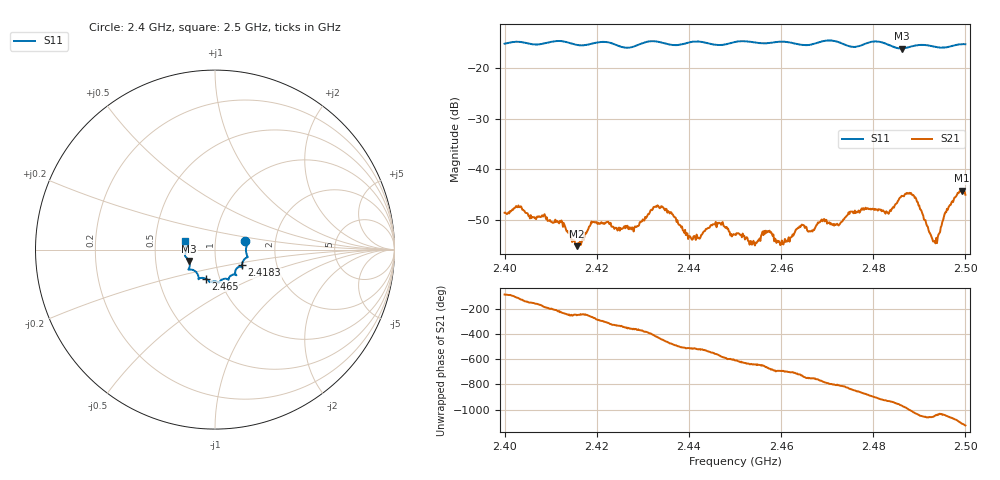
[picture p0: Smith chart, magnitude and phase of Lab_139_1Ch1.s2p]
# Hz S RI R 50
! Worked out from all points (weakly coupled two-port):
!   601 points, 2.4 GHz to 2.5 GHz, reference 50 ohm
!   highest |S21| = -44.25 dB at 2.4992 GHz (marker M1); lowest = -55.3 dB at 2.4157 GHz (marker M2)
!   lowest |S11| = -16.1 dB at 2.4862 GHz (marker M3), VSWR 1.37, Z = 37.1 - j4.81 ohm
!   |S11| at or under -10 dB: start of sweep to end of sweep
!   S12 and S22 are empty: the file has one direction only
!   S11 on the Smith chart (normalised r, x): 2.4 GHz: 1.40, +0.13; 2.4183 GHz: 1.33, -0.24; 2.465 GHz: 0.86, -0.29; 2.5 GHz: 0.71, +0.07
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2.4e9  0.1693 0.0461  0.000139 -0.0037  0 0  0 0
2.412e9  0.182 -0.0415  -0.00206 0.00228  0 0  0 0
2.415667e9  0.1608 -0.0574  -0.000536 0.00164  0 0  0 0
2.416667e9  0.1547 -0.0681  -0.000742 0.00171  0 0  0 0
2.418333e9  0.1498 -0.0871  -0.000604 0.00262  0 0  0 0
2.428e9  0.1132 -0.119  0.00241 5.11e-05  0 0  0 0
2.433333e9  0.1175 -0.1409  0.00159 -0.00402  0 0  0 0
2.440333e9  0.0757 -0.1654  -0.00191 -0.000929  0 0  0 0
2.446833e9  0.0454 -0.1643  -0.00237 0.00165  0 0  0 0
2.45e9  0.0252 -0.1807  -0.000774 0.00212  0 0  0 0
2.454167e9  0.0138 -0.1803  0.000395 0.00178  0 0  0 0
2.457167e9  -0.0112 -0.1776  0.0015 0.00192  0 0  0 0
2.460167e9  -0.0281 -0.1817  0.00173 0.000931  0 0  0 0
2.465e9  -0.0525 -0.1617  0.00257 -0.00101  0 0  0 0
2.466667e9  -0.0714 -0.1573  0.00212 -0.00126  0 0  0 0
2.477833e9  -0.1314 -0.1113  -0.00357 -0.00203  0 0  0 0
2.483333e9  -0.1415 -0.0964  -0.00305 0.00194  0 0  0 0
2.486167e9  -0.1441 -0.0631  -0.00201 0.00506  0 0  0 0
2.488833e9  -0.1619 -0.0417  0.0029 0.00462  0 0  0 0
2.493333e9  -0.163 -0.0169  0.00165 0.00101  0 0  0 0
2.499167e9  -0.168 0.0432  0.00533 -0.00303  0 0  0 0
2.5e9  -0.1671 0.0468  0.00392 -0.00396  0 0  0 0
